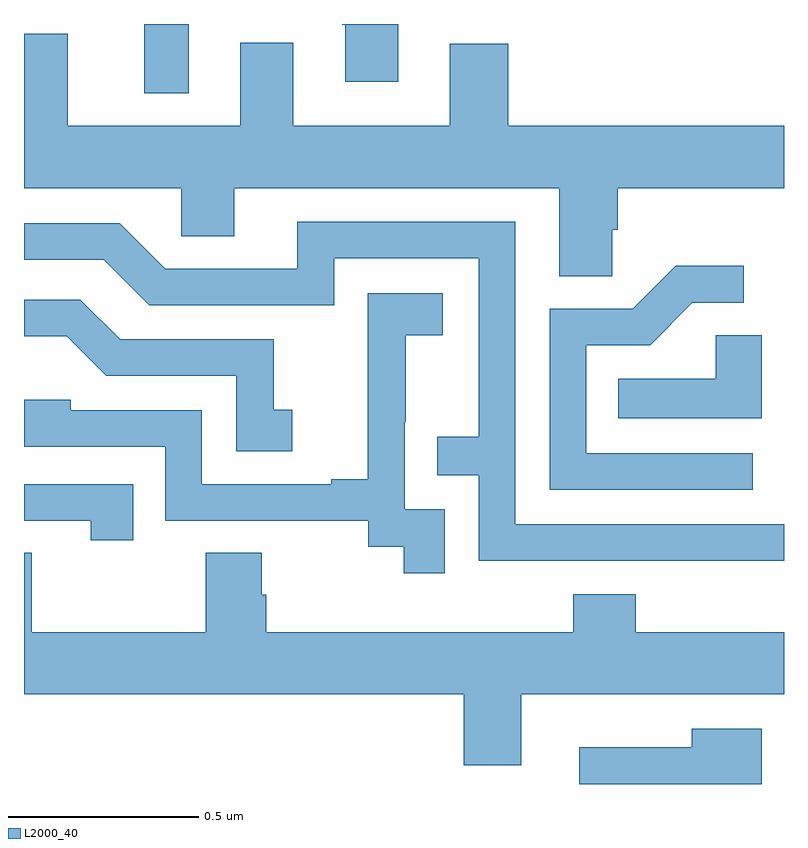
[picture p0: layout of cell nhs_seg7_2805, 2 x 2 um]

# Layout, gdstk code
import gdstk
lib = gdstk.Library(unit=1e-6, precision=1e-09)
def R(c, l, rs):  # rectangles x0, y0, x1, y1
    for r in rs: c.add(gdstk.rectangle(r[:2], r[2:], *l))
def P(c, l, *ps):  # polygons
    for p in ps: c.add(gdstk.Polygon(p, *l))
L2000_40 = (2000, 40)

nhs_seg7_2805 = lib.new_cell('nhs_seg7_2805')
R(nhs_seg7_2805, L2000_40, [(150.317,1048.818,150.433,1049)])
P(nhs_seg7_2805, L2000_40, [(150.985,1049),(150.838,1049),(150.838,1048.998),(150.845,1048.998),(150.845,1048.848),(150.985,1048.848)],
  [(151.548,1048.459),(151.562,1048.459),(151.562,1048.568),(152,1048.568),(152,1048.732),(151.274,1048.732),(151.274,1048.948),(151.121,1048.948),(151.121,1048.732),(150.709,1048.732),(150.709,1048.951),(150.569,1048.951),(150.569,1048.732),(150.115,1048.732),(150.115,1048.975),(150,1048.975),(150,1048.568),(150.414,1048.568),(150.414,1048.441),(150.553,1048.441),(150.553,1048.568),(151.409,1048.568),(151.409,1048.336),(151.548,1048.336)],
  [(152,1047.684),(151.293,1047.684),(151.293,1048.479),(150.719,1048.479),(150.719,1048.356),(150.372,1048.356),(150.252,1048.476),(150,1048.476),(150,1048.38),(150.21,1048.38),(150.33,1048.26),(150.816,1048.26),(150.816,1048.383),(151.197,1048.383),(151.197,1047.914),(151.087,1047.914),(151.087,1047.813),(151.197,1047.813),(151.197,1047.588),(151.693,1047.588),(151.693,1047.587),(152,1047.587)],
  [(151.918,1047.87),(151.479,1047.87),(151.479,1048.155),(151.648,1048.155),(151.759,1048.266),(151.894,1048.266),(151.894,1048.364),(151.715,1048.364),(151.602,1048.251),(151.383,1048.251),(151.383,1047.774),(151.918,1047.774)],
  [(151.107,1047.723),(151.002,1047.723),(151.002,1047.953),(151.004,1047.953),(151.004,1048.181),(151.102,1048.181),(151.102,1048.291),(150.904,1048.291),(150.904,1048.085),(150.905,1048.085),(150.905,1047.802),(150.809,1047.802),(150.809,1047.789),(150.468,1047.789),(150.468,1047.984),(150.123,1047.984),(150.123,1048.011),(150,1048.011),(150,1047.888),(150.372,1047.888),(150.372,1047.693),(150.906,1047.693),(150.906,1047.625),(150.999,1047.625),(150.999,1047.555),(151.107,1047.555)],
  [(150.706,1047.985),(150.657,1047.985),(150.657,1048.17),(150.253,1048.17),(150.148,1048.275),(150,1048.275),(150,1048.178),(150.112,1048.178),(150.216,1048.074),(150.558,1048.074),(150.558,1047.876),(150.706,1047.876)],
  [(151.942,1048.181),(151.821,1048.181),(151.821,1048.066),(151.564,1048.066),(151.564,1047.962),(151.942,1047.962)],
  [(150.287,1047.789),(150,1047.789),(150,1047.693),(150.176,1047.693),(150.176,1047.642),(150.287,1047.642)],
  [(151.309,1047.236),(152,1047.236),(152,1047.4),(151.61,1047.4),(151.61,1047.499),(151.445,1047.499),(151.445,1047.4),(150.638,1047.4),(150.638,1047.498),(150.625,1047.498),(150.625,1047.608),(150.478,1047.608),(150.478,1047.4),(150.021,1047.4),(150.021,1047.608),(150,1047.608),(150,1047.236),(151.157,1047.236),(151.157,1047.049),(151.309,1047.049)],
  [(151.942,1047.145),(151.757,1047.145),(151.757,1047.097),(151.461,1047.097),(151.461,1047),(151.942,1047)])

lib.write_gds('nhs_seg7_2805.gds')
